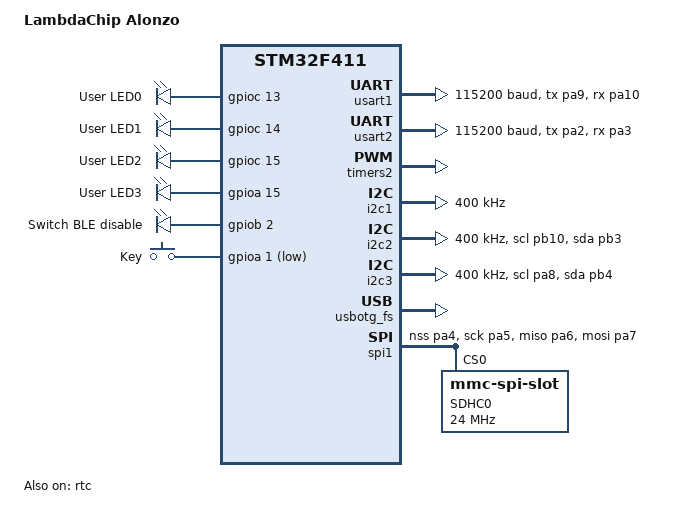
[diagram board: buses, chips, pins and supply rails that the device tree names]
/*
 * Copyright (c) 2020-2021 LambdaChip
 *
 * SPDX-License-Identifier: Apache-2.0
 */

/dts-v1/;
#include <st/f4/stm32f411Xe.dtsi>
#include <st/f4/stm32f411r(c-e)tx-pinctrl.dtsi>
/* #include "arduino_r3_connector.dtsi" */

/* Alonzo v0.0.5 */

/ {
	model = "LambdaChip Alonzo";
	compatible = "st,stm32f411";

	chosen {
		zephyr,console = &usart1;
		zephyr,shell-uart = &usart1;
		zephyr,sram = &sram0;
		zephyr,flash = &flash0;
	};

	leds {
		compatible = "gpio-leds";
		led_0: led_0 {
			gpios = <&gpioc 13 GPIO_ACTIVE_HIGH>;
			label = "User LED0";
		};

		led_1: led_1 {
			gpios = <&gpioc 14 GPIO_ACTIVE_HIGH>;
			label = "User LED1";
		};
		led_2: led_2 {
			gpios = <&gpioc 15 GPIO_ACTIVE_HIGH>;
			label = "User LED2";
		};
		led_3: led_3 {
			gpios = <&gpioa 15 GPIO_ACTIVE_HIGH>;
			label = "User LED3";
		};

	};

	ble_control {
		/* defined in zephyr/dts/bindings/gpio/gpio-leds.yaml */
		compatible = "gpio-leds";
		ble_disable_1: ble_disable_0 {
			gpios = <&gpiob 2 GPIO_ACTIVE_HIGH>;
			label = "Switch BLE disable";
		};
	};

	gpio_keys {
		compatible = "gpio-keys";
		user_button: button {
			label = "Key";
			gpios = <&gpioa 1 GPIO_ACTIVE_LOW>;
		};
	};

	aliases {
		led0 = &led_0;
		led1 = &led_1;
		led2 = &led_2;
		led3 = &led_3;
		bledisable = &ble_disable_1;
		sw0 = &user_button;
	};
};

&usart1 {
	pinctrl-0 = <&usart1_tx_pa9 &usart1_rx_pa10>;
	current-speed = <115200>;
	status = "okay";
};

&usart2 {
	pinctrl-0 = <&usart2_tx_pa2 &usart2_rx_pa3>;
	current-speed = <115200>;
	status = "okay";
};

&timers2 {
	status = "okay";

	pwm {
		status = "okay";
	};
};

&i2c1 {
	clock-frequency = <I2C_BITRATE_FAST>;
};

&i2c2 {
	status = "okay";
	pinctrl-0 = <&i2c2_scl_pb10 &i2c2_sda_pb3>;
	clock-frequency = <I2C_BITRATE_FAST>;
};

&i2c3 {
	status = "okay";
	pinctrl-0 = <&i2c3_scl_pa8 &i2c3_sda_pb4>;
	clock-frequency = <I2C_BITRATE_FAST>;
};

/* &spi1 {
	status = "okay";
}; */

&rtc {
	status = "okay";
};

&usbotg_fs {
	status = "okay";
};

&spi1 {
	pinctrl-0 = <&spi1_nss_pa4 &spi1_sck_pa5
				&spi1_miso_pa6 &spi1_mosi_pa7>;
	status = "okay";

	sdhc0: sdhc@0 {
			compatible = "zephyr,mmc-spi-slot";
			reg = <0>;
			status = "okay";
			label = "SDHC0";
			spi-max-frequency = <24000000>;
	};
};


/* zephyr/boards/arm/olimexino_stm32/olimexino_stm32.dts */
/* &spi2 {
	status = "okay";
	cs-gpios = <&gpiod 2 0>;

	sdhc0: sdhc@0 {
		compatible = "zephyr,mmc-spi-slot";
		reg = <0>;
		status = "okay";
		label = "SDHC0";
		spi-max-frequency = <24000000>;
	};
};
 */


/* PA4, pin14, SPI1_NSS -> CD/DAT3/CS */
/* PA5, pin15, SPI1_SCK -> CLK/SCLK */
/* PA6, pin16, SPI1_MISO -> DAT0/DO */
/* PA7, pin17, SPI1_MOSI -> CMD/DI */

